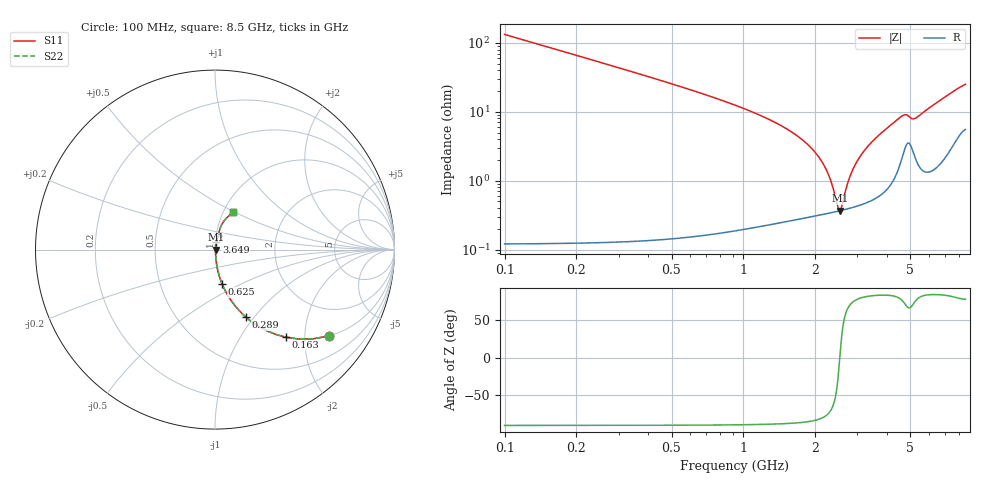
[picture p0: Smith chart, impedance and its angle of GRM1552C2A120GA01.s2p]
!Murata Part Number: GRM1552C2A120GA01
!These Parameters are Measured in Series Mode Connection
!Data Generated on Mar 30, 2021
!  o--ll--o
!Port1  Port2
!  o------o
!Operation Temp=25[degC], DC Bias Voltage=0[V]
!Freq. Start=100[MHz] Stop=9[GHz] 401[Steps]
# Hz S RI R 50
!Freq.(Hz) S11(Real) S11(Imag) S21(Real) S21(Imag) S12(Real) S12(Imag) S22(Real) S22(Imag)
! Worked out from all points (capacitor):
!   401 points, 100 MHz to 8.5 GHz, reference 50 ohm
!   read as one part in series: C = 12 pF near 142 MHz
!   lowest |Z| = 367 mohm at 2.536 GHz (marker M1)
!   series resonance near 2.532 GHz, so ESL is about 330 pH
!   S11 on the Smith chart (normalised r, x): 100 MHz: 1.00, -2.65; 163 MHz: 1.00, -1.62; 289 MHz: 1.00, -0.91; 625 MHz: 1.00, -0.40; 3.649 GHz: 1.01, +0.09; 8.5 GHz: 1.11, +0.49
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1e8  0.6367 -0.4805  0.3633 0.4805  0.3633 0.4805  0.6367 -0.4805
1.63e8  0.3965 -0.4884  0.6035 0.4884  0.6035 0.4884  0.3965 -0.4884
2.89e8  0.1709 -0.375  0.8291 0.375  0.8291 0.375  0.1709 -0.375
4.15e8  0.0892 -0.2829  0.9108 0.2829  0.9108 0.2829  0.0892 -0.2829
6.25e8  0.0396 -0.1911  0.9604 0.1911  0.9604 0.1911  0.0396 -0.1911
1.507e9  0.00578 -0.0568  0.9942 0.0568  0.9942 0.0568  0.00578 -0.0568
1.885e9  0.00395 -0.0317  0.996 0.0317  0.996 0.0317  0.00395 -0.0317
2.137e9  0.00354 -0.0182  0.9965 0.0182  0.9965 0.0182  0.00354 -0.0182
2.284e9  0.00349 -0.0111  0.9965 0.0111  0.9965 0.0111  0.00349 -0.0111
2.473e9  0.00359 -0.00256  0.9964 0.00256  0.9964 0.00256  0.00359 -0.00256
2.536e9  0.00365 0.000155  0.9963 -0.000155  0.9963 -0.000155  0.00365 0.000155
2.578e9  0.00371 0.00193  0.9963 -0.00193  0.9963 -0.00193  0.00371 0.00193
2.746e9  0.00399 0.00884  0.996 -0.00884  0.996 -0.00884  0.00399 0.00884
2.914e9  0.00438 0.0155  0.9956 -0.0155  0.9956 -0.0155  0.00438 0.0155
3.208e9  0.00534 0.0267  0.9947 -0.0267  0.9947 -0.0267  0.00534 0.0267
3.649e9  0.00762 0.0432  0.9924 -0.0432  0.9924 -0.0432  0.00762 0.0432
4.3e9  0.0157 0.069  0.9843 -0.069  0.9843 -0.069  0.0157 0.069
4.72e9  0.0337 0.0809  0.9663 -0.0809  0.9663 -0.0809  0.0337 0.0809
5.182e9  0.0286 0.0716  0.9714 -0.0716  0.9714 -0.0716  0.0286 0.0716
5.707e9  0.0228 0.0956  0.9772 -0.0956  0.9772 -0.0956  0.0228 0.0956
7.114e9  0.0491 0.1579  0.9509 -0.1579  0.9509 -0.1579  0.0491 0.1579
8.5e9  0.1008 0.2086  0.8992 -0.2086  0.8992 -0.2086  0.1008 0.2086
